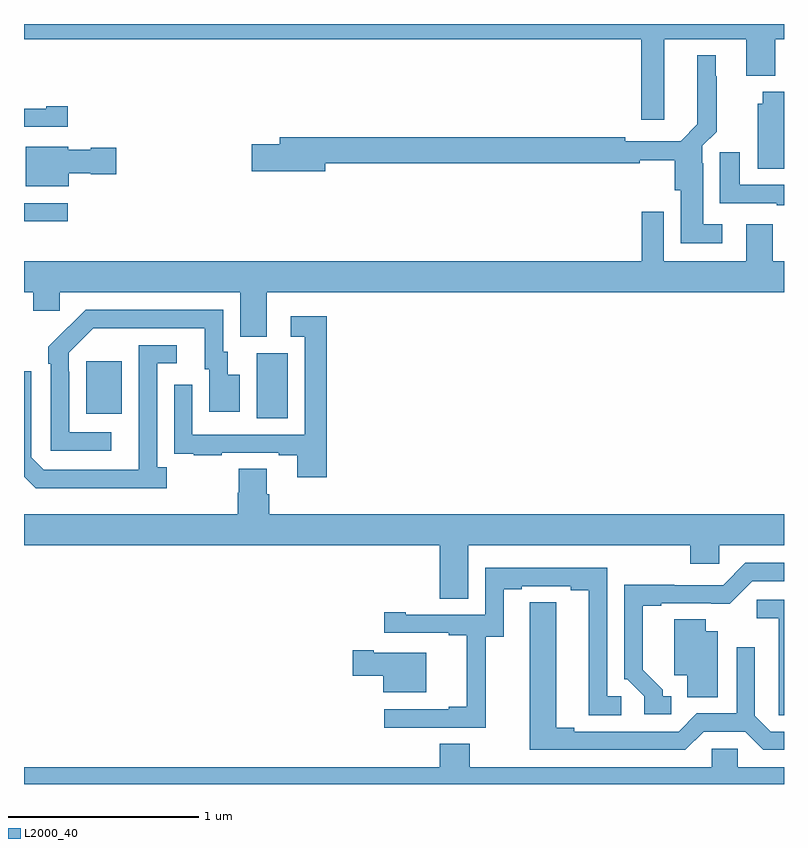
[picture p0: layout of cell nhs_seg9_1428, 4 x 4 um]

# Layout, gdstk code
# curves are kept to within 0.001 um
import gdstk
lib = gdstk.Library(unit=1e-6, precision=1e-09)
def R(c, l, rs):  # rectangles x0, y0, x1, y1
    for r in rs: c.add(gdstk.rectangle(r[:2], r[2:], *l))
def P(c, l, *ps):  # polygons
    for p in ps: c.add(gdstk.Polygon(p, *l))
L2000_40 = (2000, 40)

nhs_seg9_1428 = lib.new_cell('nhs_seg9_1428')
R(nhs_seg9_1428, L2000_40, [(192.224,1194.424,192.388,1194.768), (191.327,1194.449,191.515,1194.724), (191,1195.461,191.23,1195.557)])
P(nhs_seg9_1428, L2000_40, [(194.371,1196.42),(194.801,1196.42),(194.801,1196.228),(194.954,1196.228),(194.954,1196.42),(195,1196.42),(195,1196.5),(191,1196.5),(191,1196.42),(194.249,1196.42),(194.249,1195.995),(194.371,1195.995)],
  [(194.674,1195.447),(194.575,1195.447),(194.575,1195.766),(194.571,1195.766),(194.571,1195.86),(194.645,1195.934),(194.645,1196.225),(194.641,1196.225),(194.641,1196.335),(194.543,1196.335),(194.544,1195.972),(194.456,1195.884),(194.165,1195.884),(194.165,1195.904),(192.347,1195.904),(192.347,1195.868),(192.198,1195.868),(192.198,1195.726),(192.586,1195.726),(192.586,1195.768),(194.242,1195.768),(194.242,1195.783),(194.426,1195.783),(194.426,1195.626),(194.456,1195.626),(194.456,1195.346),(194.674,1195.346)],
  [(195,1196.143),(194.888,1196.143),(194.888,1196.079),(194.861,1196.079),(194.861,1195.738),(195,1195.738)],
  [(191.23,1196.068),(191.117,1196.068),(191.117,1196.055),(191,1196.055),(191,1195.959),(191.23,1195.959)],
  [(191.236,1195.715),(191.352,1195.715),(191.352,1195.708),(191.485,1195.708),(191.485,1195.85),(191.352,1195.85),(191.352,1195.837),(191.232,1195.837),(191.232,1195.855),(191.009,1195.855),(191.009,1195.646),(191.236,1195.646)],
  [(195,1195.653),(194.767,1195.653),(194.767,1195.825),(194.663,1195.825),(194.663,1195.557),(194.963,1195.557),(194.963,1195.545),(195,1195.545)],
  [(192.277,1195.088),(195,1195.088),(195,1195.252),(194.941,1195.252),(194.941,1195.447),(194.801,1195.447),(194.801,1195.252),(194.367,1195.252),(194.367,1195.513),(194.251,1195.513),(194.251,1195.252),(191,1195.252),(191,1195.088),(191.048,1195.088),(191.048,1194.99),(191.187,1194.99),(191.187,1195.088),(192.137,1195.088),(192.137,1194.853),(192.277,1194.853)],
  [(191.458,1194.351),(191.238,1194.351),(191.238,1194.671),(191.235,1194.671),(191.235,1194.771),(191.364,1194.9),(191.951,1194.9),(191.951,1194.684),(191.975,1194.684),(191.975,1194.459),(192.136,1194.459),(192.136,1194.655),(192.073,1194.655),(192.073,1194.774),(192.048,1194.774),(192.048,1194.996),(191.324,1194.996),(191.127,1194.801),(191.127,1194.713),(191.142,1194.713),(191.142,1194.255),(191.458,1194.255)],
  [(192.593,1194.961),(192.405,1194.961),(192.405,1194.855),(192.477,1194.855),(192.477,1194.339),(191.886,1194.339),(191.886,1194.601),(191.79,1194.601),(191.79,1194.346),(191.791,1194.346),(191.791,1194.237),(191.893,1194.237),(191.893,1194.231),(192.041,1194.231),(192.041,1194.243),(192.341,1194.243),(192.341,1194.231),(192.437,1194.231),(192.437,1194.114),(192.593,1194.114)],
  [(191.752,1194.166),(191.7,1194.166),(191.7,1194.714),(191.803,1194.714),(191.803,1194.81),(191.604,1194.81),(191.603,1194.153),(191.103,1194.153),(191.037,1194.219),(191.037,1194.673),(191,1194.673),(191,1194.118),(191.062,1194.056),(191.752,1194.056)],
  [(193.339,1193.756),(194.507,1193.756),(194.507,1193.658),(194.658,1193.658),(194.658,1193.756),(195,1193.756),(195,1193.92),(192.29,1193.92),(192.29,1194.026),(192.277,1194.026),(192.277,1194.158),(192.13,1194.158),(192.13,1194.033),(192.125,1194.033),(192.125,1193.92),(191,1193.92),(191,1193.756),(193.187,1193.756),(193.187,1193.476),(193.339,1193.476)],
  [(194.407,1192.962),(194.362,1192.962),(194.362,1192.997),(194.257,1193.102),(194.257,1193.439),(194.353,1193.439),(194.353,1193.451),(194.714,1193.45),(194.832,1193.568),(195,1193.568),(195,1193.664),(194.796,1193.664),(194.679,1193.547),(194.423,1193.547),(194.423,1193.549),(194.16,1193.549),(194.16,1193.052),(194.175,1193.052),(194.265,1192.962),(194.265,1192.866),(194.407,1192.866)],
  [(193.431,1193.275),(193.525,1193.275),(193.525,1193.526),(193.621,1193.526),(193.621,1193.541),(193.877,1193.541),(193.877,1193.521),(193.973,1193.521),(193.973,1192.861),(194.143,1192.861),(194.143,1192.962),(194.07,1192.962),(194.07,1193.637),(193.428,1193.637),(193.428,1193.391),(193.009,1193.391),(193.009,1193.404),(192.897,1193.404),(192.897,1193.295),(193.235,1193.295),(193.235,1193.283),(193.331,1193.283),(193.331,1192.906),(193.235,1192.906),(193.235,1192.893),(192.897,1192.893),(192.897,1192.797),(193.431,1192.797)],
  [(195,1193.469),(194.856,1193.469),(194.856,1193.372),(194.972,1193.372),(194.972,1192.969),(194.973,1192.969),(194.973,1192.861),(195,1192.861)],
  [(194.577,1192.776),(194.795,1192.776),(194.891,1192.68),(195,1192.68),(195,1192.776),(194.931,1192.776),(194.847,1192.86),(194.847,1193.221),(194.751,1193.221),(194.751,1192.872),(194.541,1192.872),(194.445,1192.776),(193.897,1192.776),(193.897,1192.796),(193.801,1192.796),(193.801,1193.456),(193.662,1193.456),(193.661,1192.68),(194.481,1192.68)],
  [(194.65,1193.305),(194.587,1193.305),(194.587,1193.366),(194.423,1193.366),(194.423,1193.072),(194.492,1193.072),(194.492,1192.957),(194.65,1192.957)],
  [(193.117,1193.191),(192.841,1193.191),(192.841,1193.204),(192.729,1193.204),(192.729,1193.069),(192.89,1193.069),(192.89,1192.982),(193.117,1192.982)],
  [(195,1192.588),(194.757,1192.588),(194.757,1192.686),(194.619,1192.686),(194.619,1192.588),(193.347,1192.588),(193.347,1192.712),(193.187,1192.712),(193.187,1192.588),(191,1192.588),(191,1192.5),(195,1192.5)])

lib.write_gds('nhs_seg9_1428.gds')
